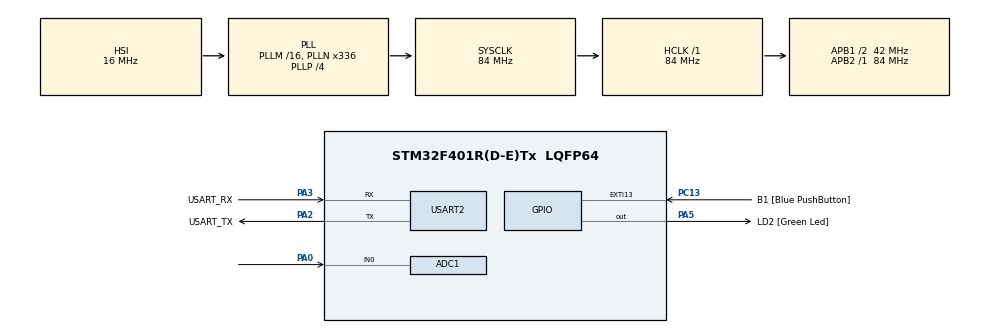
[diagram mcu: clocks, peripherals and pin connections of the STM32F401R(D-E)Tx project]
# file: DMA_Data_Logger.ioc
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ADC1.Channel-2\#ChannelRegularConversion=ADC_CHANNEL_0
ADC1.NbrOfConversionFlag=1
ADC1.Rank-2\#ChannelRegularConversion=1
ADC1.SamplingTime-2\#ChannelRegularConversion=ADC_SAMPLETIME_3CYCLES
ADC1.master=1
Dma.ADC1.1.Direction=DMA_PERIPH_TO_MEMORY
Dma.ADC1.1.FIFOMode=DMA_FIFOMODE_DISABLE
Dma.ADC1.1.Instance=DMA2_Stream0
Dma.ADC1.1.MemDataAlignment=DMA_MDATAALIGN_HALFWORD
Dma.ADC1.1.MemInc=DMA_MINC_ENABLE
Dma.ADC1.1.Mode=DMA_CIRCULAR
Dma.ADC1.1.PeriphDataAlignment=DMA_PDATAALIGN_HALFWORD
Dma.ADC1.1.PeriphInc=DMA_PINC_DISABLE
Dma.ADC1.1.Priority=DMA_PRIORITY_LOW
Dma.Request0=USART2_RX
Dma.Request1=ADC1
Dma.USART2_RX.0.Direction=DMA_PERIPH_TO_MEMORY
Dma.USART2_RX.0.FIFOMode=DMA_FIFOMODE_DISABLE
Dma.USART2_RX.0.Instance=DMA1_Stream5
Dma.USART2_RX.0.MemDataAlignment=DMA_MDATAALIGN_BYTE
Dma.USART2_RX.0.MemInc=DMA_MINC_ENABLE
Dma.USART2_RX.0.Mode=DMA_CIRCULAR
Dma.USART2_RX.0.PeriphDataAlignment=DMA_PDATAALIGN_BYTE
Dma.USART2_RX.0.PeriphInc=DMA_PINC_DISABLE
Dma.USART2_RX.0.Priority=DMA_PRIORITY_LOW
Mcu.Family=STM32F4
Mcu.Name=STM32F401R(D-E)Tx
Mcu.Package=LQFP64
NVIC.DMA1_Stream5_IRQn=true\:0\:0\:false\:false\:true\:false\:true\:true
NVIC.DMA2_Stream0_IRQn=true\:0\:0\:false\:false\:true\:false\:true\:true
NVIC.PriorityGroup=NVIC_PRIORITYGROUP_4
NVIC.USART2_IRQn=true\:0\:0\:false\:false\:true\:true\:true\:true
PA0-WKUP.Signal=ADCx_IN0
PA13.GPIO_Label=TMS
PA13.Mode=Trace_Asynchronous_SW
PA13.Signal=SYS_JTMS-SWDIO
PA14.GPIO_Label=TCK
PA14.Mode=Trace_Asynchronous_SW
PA14.Signal=SYS_JTCK-SWCLK
PA2.GPIO_Label=USART_TX
PA2.GPIO_Mode=GPIO_MODE_AF_PP
PA2.GPIO_PuPd=GPIO_NOPULL
PA2.GPIO_Speed=GPIO_SPEED_FREQ_LOW
PA2.Mode=Asynchronous
PA2.Signal=USART2_TX
PA3.GPIO_Label=USART_RX
PA3.GPIO_Mode=GPIO_MODE_AF_PP
PA3.GPIO_PuPd=GPIO_NOPULL
PA3.GPIO_Speed=GPIO_SPEED_FREQ_LOW
PA3.Mode=Asynchronous
PA3.Signal=USART2_RX
PA5.GPIO_Label=LD2 [Green Led]
PA5.GPIO_Mode=GPIO_MODE_OUTPUT_PP
PA5.GPIO_PuPd=GPIO_NOPULL
PA5.GPIO_Speed=GPIO_SPEED_FREQ_LOW
PA5.Signal=GPIO_Output
PB3.GPIO_Label=SWO
PB3.Mode=Trace_Asynchronous_SW
PB3.Signal=SYS_JTDO-SWO
PC13-ANTI_TAMP.GPIO_Label=B1 [Blue PushButton]
PC13-ANTI_TAMP.GPIO_ModeDefaultEXTI=GPIO_MODE_IT_FALLING
PC13-ANTI_TAMP.GPIO_PuPd=GPIO_NOPULL
PC13-ANTI_TAMP.Signal=GPXTI13
PC14-OSC32_IN.Mode=LSE-External-Oscillator
PC14-OSC32_IN.Signal=RCC_OSC32_IN
PC15-OSC32_OUT.Mode=LSE-External-Oscillator
PC15-OSC32_OUT.Signal=RCC_OSC32_OUT
PH0\ -\ OSC_IN.Mode=HSE-External-Clock-Source
PH0\ -\ OSC_IN.Signal=RCC_OSC_IN
PH1\ -\ OSC_OUT.Mode=HSE-External-Clock-Source
PH1\ -\ OSC_OUT.Signal=RCC_OSC_OUT
ProjectManager.HeapSize=0x200
ProjectManager.StackSize=0x400
ProjectManager.TargetToolchain=CMake
RCC.48MHZClocksFreq_Value=48000000
RCC.AHBFreq_Value=84000000
RCC.APB1CLKDivider=RCC_HCLK_DIV2
RCC.APB1Freq_Value=42000000
RCC.APB1TimFreq_Value=84000000
RCC.APB2Freq_Value=84000000
RCC.APB2TimFreq_Value=84000000
RCC.CortexFreq_Value=84000000
RCC.HCLKFreq_Value=84000000
RCC.HSE_VALUE=8000000
RCC.HSI_VALUE=16000000
RCC.PLLN=336
RCC.PLLP=RCC_PLLP_DIV4
RCC.PLLQ=7
RCC.SYSCLKFreq_VALUE=84000000
RCC.SYSCLKSource=RCC_SYSCLKSOURCE_PLLCLK
RCC.VCOOutputFreq_Value=336000000
SH.ADCx_IN0.0=ADC1_IN0,IN0
USART2.VirtualMode=VM_ASYNC
board=NUCLEO-F401RE

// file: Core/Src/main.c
/* USER CODE BEGIN Header */
/**
  ******************************************************************************
  * @file           : main.c
  * @brief          : Main program body
  ******************************************************************************
  * @attention
  *
  * Copyright (c) 2026 STMicroelectronics.
  * All rights reserved.
  *
  * This software is licensed under terms that can be found in the LICENSE file
  * in the root directory of this software component.
  * If no LICENSE file comes with this software, it is provided AS-IS.
  *
  ******************************************************************************
  */
/* USER CODE END Header */
#include "main.h"

/* USER CODE BEGIN Includes */
#include "ring_buffer.h"
#include "stm32f401xe.h"
#include "stm32f4xx_hal_adc.h"
#include "stm32f4xx_hal_uart.h"
#include <stdint.h>
/* USER CODE END Includes */

/* USER CODE BEGIN PD */
#define DMA_RX_BUFFER_SIZE (64)
/* USER CODE END PD */

ADC_HandleTypeDef hadc1;
DMA_HandleTypeDef hdma_adc1;

UART_HandleTypeDef huart2;
DMA_HandleTypeDef hdma_usart2_rx;

void SystemClock_Config(void);
static void MX_GPIO_Init(void);
static void MX_DMA_Init(void);
static void MX_USART2_UART_Init(void);
static void MX_ADC1_Init(void);

/* USER CODE BEGIN 0 */
RingBuffer my_buffer_uart;
RingBuffer my_buffer_adc;
uint8_t uart_dma_rx_buffer[DMA_RX_BUFFER_SIZE];
uint16_t adc_dma_rx_buffer[DMA_RX_BUFFER_SIZE];

/* USER CODE END 0 */

int main(void)
{

  /* MCU Configuration--------------------------------------------------------*/

  /* Reset of all peripherals, Initializes the Flash interface and the Systick. */
  HAL_Init();

  /* Configure the system clock */
  SystemClock_Config();

  /* Initialize all configured peripherals */
  MX_GPIO_Init();
  MX_DMA_Init();
  MX_USART2_UART_Init();
  MX_ADC1_Init();
  /* USER CODE BEGIN 2 */
  HAL_UARTEx_ReceiveToIdle_DMA(&huart2, uart_dma_rx_buffer, DMA_RX_BUFFER_SIZE);
  HAL_ADC_Start_DMA(&hadc1, (uint32_t*)adc_dma_rx_buffer, DMA_RX_BUFFER_SIZE);
  /* USER CODE END 2 */

  /* Infinite loop */
  while (1)
  {

  }
}

void SystemClock_Config(void)
{
  RCC_OscInitTypeDef RCC_OscInitStruct = {0};
  RCC_ClkInitTypeDef RCC_ClkInitStruct = {0};

  /** Configure the main internal regulator output voltage
  */
  __HAL_RCC_PWR_CLK_ENABLE();
  __HAL_PWR_VOLTAGESCALING_CONFIG(PWR_REGULATOR_VOLTAGE_SCALE2);

  /** Initializes the RCC Oscillators according to the specified parameters
  * in the RCC_OscInitTypeDef structure.
  */
  RCC_OscInitStruct.OscillatorType = RCC_OSCILLATORTYPE_HSI;
  RCC_OscInitStruct.HSIState = RCC_HSI_ON;
  RCC_OscInitStruct.HSICalibrationValue = RCC_HSICALIBRATION_DEFAULT;
  RCC_OscInitStruct.PLL.PLLState = RCC_PLL_ON;
  RCC_OscInitStruct.PLL.PLLSource = RCC_PLLSOURCE_HSI;
  RCC_OscInitStruct.PLL.PLLM = 16;
  RCC_OscInitStruct.PLL.PLLN = 336;
  RCC_OscInitStruct.PLL.PLLP = RCC_PLLP_DIV4;
  RCC_OscInitStruct.PLL.PLLQ = 7;
  if (HAL_RCC_OscConfig(&RCC_OscInitStruct) != HAL_OK)
  {
    Error_Handler();
  }

  /** Initializes the CPU, AHB and APB buses clocks
  */
  RCC_ClkInitStruct.ClockType = RCC_CLOCKTYPE_HCLK|RCC_CLOCKTYPE_SYSCLK
                              |RCC_CLOCKTYPE_PCLK1|RCC_CLOCKTYPE_PCLK2;
  RCC_ClkInitStruct.SYSCLKSource = RCC_SYSCLKSOURCE_PLLCLK;
  RCC_ClkInitStruct.AHBCLKDivider = RCC_SYSCLK_DIV1;
  RCC_ClkInitStruct.APB1CLKDivider = RCC_HCLK_DIV2;
  RCC_ClkInitStruct.APB2CLKDivider = RCC_HCLK_DIV1;

  if (HAL_RCC_ClockConfig(&RCC_ClkInitStruct, FLASH_LATENCY_2) != HAL_OK)
  {
    Error_Handler();
  }
}

static void MX_ADC1_Init(void)
{

  ADC_ChannelConfTypeDef sConfig = {0};

  /** Configure the global features of the ADC (Clock, Resolution, Data Alignment and number of conversion)
  */
  hadc1.Instance = ADC1;
  hadc1.Init.ClockPrescaler = ADC_CLOCK_SYNC_PCLK_DIV4;
  hadc1.Init.Resolution = ADC_RESOLUTION_12B;
  hadc1.Init.ScanConvMode = DISABLE;
  hadc1.Init.ContinuousConvMode = DISABLE;
  hadc1.Init.DiscontinuousConvMode = DISABLE;
  hadc1.Init.ExternalTrigConvEdge = ADC_EXTERNALTRIGCONVEDGE_NONE;
  hadc1.Init.ExternalTrigConv = ADC_SOFTWARE_START;
  hadc1.Init.DataAlign = ADC_DATAALIGN_RIGHT;
  hadc1.Init.NbrOfConversion = 1;
  hadc1.Init.DMAContinuousRequests = DISABLE;
  hadc1.Init.EOCSelection = ADC_EOC_SINGLE_CONV;
  if (HAL_ADC_Init(&hadc1) != HAL_OK)
  {
    Error_Handler();
  }

  /** Configure for the selected ADC regular channel its corresponding rank in the sequencer and its sample time.
  */
  sConfig.Channel = ADC_CHANNEL_0;
  sConfig.Rank = 1;
  sConfig.SamplingTime = ADC_SAMPLETIME_3CYCLES;
  if (HAL_ADC_ConfigChannel(&hadc1, &sConfig) != HAL_OK)
  {
    Error_Handler();
  }

}

static void MX_USART2_UART_Init(void)
{

  huart2.Instance = USART2;
  huart2.Init.BaudRate = 115200;
  huart2.Init.WordLength = UART_WORDLENGTH_8B;
  huart2.Init.StopBits = UART_STOPBITS_1;
  huart2.Init.Parity = UART_PARITY_NONE;
  huart2.Init.Mode = UART_MODE_TX_RX;
  huart2.Init.HwFlowCtl = UART_HWCONTROL_NONE;
  huart2.Init.OverSampling = UART_OVERSAMPLING_16;
  if (HAL_UART_Init(&huart2) != HAL_OK)
  {
    Error_Handler();
  }

}

static void MX_DMA_Init(void)
{

  /* DMA controller clock enable */
  __HAL_RCC_DMA1_CLK_ENABLE();
  __HAL_RCC_DMA2_CLK_ENABLE();

  /* DMA interrupt init */
  /* DMA1_Stream5_IRQn interrupt configuration */
  HAL_NVIC_SetPriority(DMA1_Stream5_IRQn, 0, 0);
  HAL_NVIC_EnableIRQ(DMA1_Stream5_IRQn);
  /* DMA2_Stream0_IRQn interrupt configuration */
  HAL_NVIC_SetPriority(DMA2_Stream0_IRQn, 0, 0);
  HAL_NVIC_EnableIRQ(DMA2_Stream0_IRQn);

}

static void MX_GPIO_Init(void)
{
  GPIO_InitTypeDef GPIO_InitStruct = {0};

  /* GPIO Ports Clock Enable */
  __HAL_RCC_GPIOC_CLK_ENABLE();
  __HAL_RCC_GPIOH_CLK_ENABLE();
  __HAL_RCC_GPIOA_CLK_ENABLE();
  __HAL_RCC_GPIOB_CLK_ENABLE();

  /*Configure GPIO pin Output Level */
  HAL_GPIO_WritePin(LD2_GPIO_Port, LD2_Pin, GPIO_PIN_RESET);

  /*Configure GPIO pin : B1_Pin */
  GPIO_InitStruct.Pin = B1_Pin;
  GPIO_InitStruct.Mode = GPIO_MODE_IT_FALLING;
  GPIO_InitStruct.Pull = GPIO_NOPULL;
  HAL_GPIO_Init(B1_GPIO_Port, &GPIO_InitStruct);

  /*Configure GPIO pin : LD2_Pin */
  GPIO_InitStruct.Pin = LD2_Pin;
  GPIO_InitStruct.Mode = GPIO_MODE_OUTPUT_PP;
  GPIO_InitStruct.Pull = GPIO_NOPULL;
  GPIO_InitStruct.Speed = GPIO_SPEED_FREQ_LOW;
  HAL_GPIO_Init(LD2_GPIO_Port, &GPIO_InitStruct);

}

/* USER CODE BEGIN 4 */
void HAL_UARTEx_RxEventCallback(UART_HandleTypeDef *huart, uint16_t Size){
  uint8_t old_position = 0;
  //Ovo sluzi da vidimo na kom uartu se desio prekid
  // (instance ce dati UART1, UART2, UART3 u zavisnosti na kom se dogodio prekid)
  if( huart -> Instance == USART2 ){
    if( old_position < Size ){
      for (int i = old_position; i < Size; i++) {
        Push(&my_buffer_uart, uart_dma_rx_buffer[i]);
      }
    }
    else{
      for (int i = old_position; i < DMA_RX_BUFFER_SIZE; i++) {
        Push(&my_buffer_uart, uart_dma_rx_buffer[i]);
      }
      for (int i = 0; i < Size; i++) {
        Push(&my_buffer_uart, uart_dma_rx_buffer[i]);
      }
    }
    old_position = Size;
  }
}
void HAL_ADC_ConvHalfCpltCallback(ADC_HandleTypeDef *hadc){
  if (hadc -> Instance == ADC1 ){
    for (int i = 0; i < DMA_RX_BUFFER_SIZE / 2; i++){
      Push(&my_buffer_adc, adc_dma_rx_buffer[i]);
    }
  }
}

void HAL_ADC_ConvCpltCallback(ADC_HandleTypeDef *hadc){
  if (hadc -> Instance == ADC1 ){
    for (int i = DMA_RX_BUFFER_SIZE / 2; i < DMA_RX_BUFFER_SIZE; i++){
      Push( &my_buffer_adc, adc_dma_rx_buffer[i]);
    }
  }

}
/* USER CODE END 4 */

void Error_Handler(void)
{
  __disable_irq();
  while (1)
  {
  }
}
